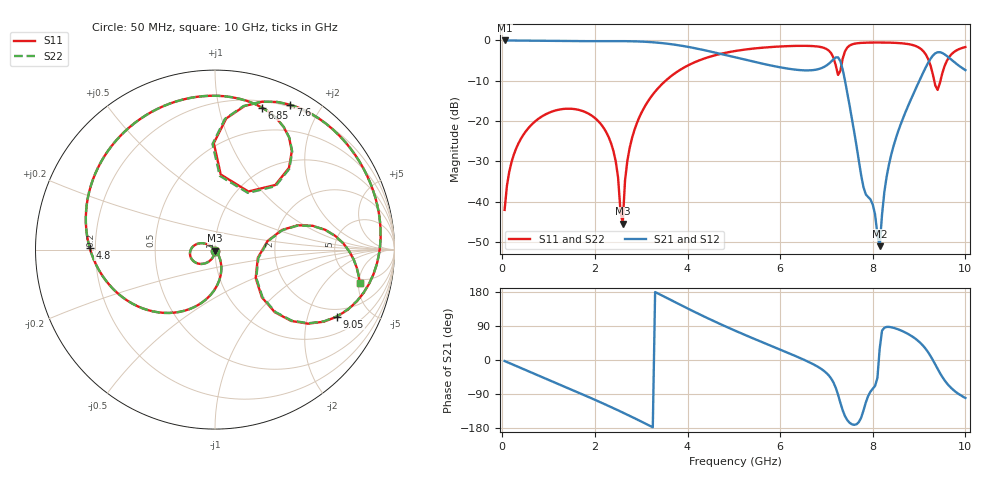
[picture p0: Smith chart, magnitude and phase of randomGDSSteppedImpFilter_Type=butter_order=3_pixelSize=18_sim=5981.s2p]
! freq	dB(S11)	phase(S11)	dB(S12)	phase(S12)
!  dB(S21)	phase(S21)	dB(S22)	phase(S22)
!S-par simulation data
#  GHz  S  DB  R 50
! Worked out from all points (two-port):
!   200 points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, 50 MHz to 10 GHz, reference 50 ohm
!   highest |S21| = 0.00 dB at 50 MHz (marker M1); lowest = -51.1 dB at 8.15 GHz (marker M2)
!   |S21| within 3 dB of the highest: start of sweep to 4.59 GHz; 9.386 GHz to 9.473 GHz (86.75 MHz wide, 0.92 % of centre)
!   lowest |S11| = -45.5 dB at 2.6 GHz (marker M3), VSWR 1.01, Z = 50.1 - j0.523 ohm
!   |S11| at or under -10 dB: start of sweep to 3.526 GHz; 9.327 GHz to 9.462 GHz (134.2 MHz wide, 1.43 % of centre)
!   |S22| runs from -45.6 to -0.5 dB; largest |S21 - S12| = 0
!   S11 on the Smith chart (normalised r, x): 50 MHz: 1.00, -0.02; 4.8 GHz: 0.18, +0.01; 6.85 GHz: 0.26, +1.35; 7.6 GHz: 0.17, +1.63; 9.05 GHz: 1.65, -3.09; 10 GHz: 4.38, -5.15
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0.05  -42.06 -92.6  -0.00 -2.7  -0.00 -2.7  -42.06 -92.6
0.2  -30.17 -100.7  -0.02 -10.6  -0.02 -10.6  -30.17 -100.7
0.55  -21.94 -119.5  -0.07 -28.9  -0.07 -28.9  -21.94 -119.6
1.75  -17.59 177.6  -0.18 -91.7  -0.18 -91.7  -17.59 177.6
2.35  -25.55 145.8  -0.16 -124.3  -0.16 -124.3  -25.55 145.6
2.6  -45.48 -78.8  -0.17 -138.6  -0.17 -138.6  -45.60 -78.0
2.65  -34.82 -56.6  -0.18 -141.5  -0.18 -141.5  -34.83 -55.8
2.8  -24.29 -62.6  -0.21 -150.3  -0.21 -150.3  -24.29 -62.3
3.4  -11.41 -98.1  -0.60 173.1  -0.60 173.1  -11.41 -98.1
4.8  -3.12 179.1  -3.57 89.7  -3.57 89.7  -3.12 179.1
5.05  -2.58 165.7  -4.26 76.2  -4.26 76.2  -2.58 165.7
6.7  -1.40 80.9  -7.38 -10.2  -7.38 -10.2  -1.40 80.8
6.85  -1.58 71.7  -7.04 -20.5  -7.04 -20.5  -1.58 71.6
7.15  -4.24 47.8  -4.70 -59.0  -4.70 -59.0  -4.27 47.4
7.3  -7.55 85.7  -5.12 -112.8  -5.12 -112.8  -7.70 86.3
7.6  -0.82 62.6  -22.79 -171.1  -22.79 -171.1  -0.83 62.9
8.15  -0.51 28.5  -51.07 30.7  -51.07 30.7  -0.52 28.6
8.35  -0.55 17.8  -30.77 87.3  -30.77 87.3  -0.55 17.9
9.05  -2.21 -28.8  -8.92 42.4  -8.92 42.4  -2.20 -28.5
9.35  -11.18 -34.9  -3.20 -11.9  -3.20 -11.9  -11.09 -34.5
9.6  -5.05 13.8  -3.87 -61.4  -3.87 -61.4  -5.04 13.6
10  -1.65 -13.0  -7.36 -100.3  -7.36 -100.3  -1.65 -13.0
